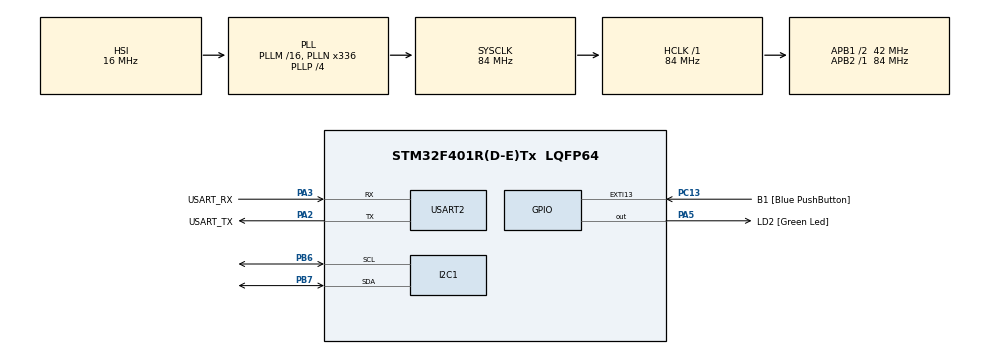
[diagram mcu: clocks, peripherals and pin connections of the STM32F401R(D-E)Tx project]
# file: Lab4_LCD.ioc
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Mcu.Family=STM32F4
Mcu.Name=STM32F401R(D-E)Tx
Mcu.Package=LQFP64
NVIC.PriorityGroup=NVIC_PRIORITYGROUP_0
NVIC.TIM1_BRK_TIM9_IRQn=true\:0\:0\:false\:false\:true\:true\:true\:true
NVIC.TIM2_IRQn=true\:0\:0\:false\:false\:true\:true\:true\:true
PA13.GPIO_Label=TMS
PA13.Mode=Serial_Wire
PA13.Signal=SYS_JTMS-SWDIO
PA14.GPIO_Label=TCK
PA14.Mode=Serial_Wire
PA14.Signal=SYS_JTCK-SWCLK
PA2.GPIO_Label=USART_TX
PA2.GPIO_Mode=GPIO_MODE_AF_PP
PA2.GPIO_PuPd=GPIO_NOPULL
PA2.GPIO_Speed=GPIO_SPEED_FREQ_LOW
PA2.Mode=Asynchronous
PA2.Signal=USART2_TX
PA3.GPIO_Label=USART_RX
PA3.GPIO_Mode=GPIO_MODE_AF_PP
PA3.GPIO_PuPd=GPIO_NOPULL
PA3.GPIO_Speed=GPIO_SPEED_FREQ_LOW
PA3.Mode=Asynchronous
PA3.Signal=USART2_RX
PA5.GPIO_Label=LD2 [Green Led]
PA5.GPIO_Mode=GPIO_MODE_OUTPUT_PP
PA5.GPIO_PuPd=GPIO_NOPULL
PA5.GPIO_Speed=GPIO_SPEED_FREQ_LOW
PA5.Signal=GPIO_Output
PB3.GPIO_Label=SWO
PB3.Signal=SYS_JTDO-SWO
PB6.Mode=I2C
PB6.Signal=I2C1_SCL
PB7.Mode=I2C
PB7.Signal=I2C1_SDA
PC13-ANTI_TAMP.GPIO_Label=B1 [Blue PushButton]
PC13-ANTI_TAMP.GPIO_ModeDefaultEXTI=GPIO_MODE_IT_FALLING
PC13-ANTI_TAMP.GPIO_PuPd=GPIO_NOPULL
PC13-ANTI_TAMP.Signal=GPXTI13
PC14-OSC32_IN.Mode=LSE-External-Oscillator
PC14-OSC32_IN.Signal=RCC_OSC32_IN
PC15-OSC32_OUT.Mode=LSE-External-Oscillator
PC15-OSC32_OUT.Signal=RCC_OSC32_OUT
PH0\ -\ OSC_IN.Mode=HSE-External-Clock-Source
PH0\ -\ OSC_IN.Signal=RCC_OSC_IN
PH1\ -\ OSC_OUT.Mode=HSE-External-Clock-Source
PH1\ -\ OSC_OUT.Signal=RCC_OSC_OUT
ProjectManager.HeapSize=0x200
ProjectManager.StackSize=0x400
ProjectManager.TargetToolchain=STM32CubeIDE
RCC.48MHZClocksFreq_Value=48000000
RCC.AHBFreq_Value=84000000
RCC.APB1CLKDivider=RCC_HCLK_DIV2
RCC.APB1Freq_Value=42000000
RCC.APB1TimFreq_Value=84000000
RCC.APB2Freq_Value=84000000
RCC.APB2TimFreq_Value=84000000
RCC.CortexFreq_Value=84000000
RCC.HCLKFreq_Value=84000000
RCC.HSE_VALUE=8000000
RCC.HSI_VALUE=16000000
RCC.PLLN=336
RCC.PLLP=RCC_PLLP_DIV4
RCC.PLLQ=7
RCC.SYSCLKFreq_VALUE=84000000
RCC.SYSCLKSource=RCC_SYSCLKSOURCE_PLLCLK
RCC.VCOOutputFreq_Value=336000000
TIM2.Period=0xffffffff
TIM2.Prescaler=84-1
TIM9.Period=41999
TIM9.Prescaler=1999
USART2.VirtualMode=VM_ASYNC
VP_TIM2_VS_ClockSourceINT.Mode=Internal
VP_TIM9_VS_ClockSourceINT.Mode=Internal
board=NUCLEO-F401RE

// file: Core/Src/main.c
/* USER CODE BEGIN Header */
/**
  ******************************************************************************
  * @file           : main.c
  * @brief          : Main program body
  ******************************************************************************
  * @attention
  *
  * Copyright (c) 2024 STMicroelectronics.
  * All rights reserved.
  *
  * This software is licensed under terms that can be found in the LICENSE file
  * in the root directory of this software component.
  * If no LICENSE file comes with this software, it is provided AS-IS.
  *
  ******************************************************************************
  */
/* USER CODE END Header */
#include "main.h"

/* USER CODE BEGIN Includes */
#include <stdio.h>
#include "lcd.h"
/* USER CODE END Includes */

I2C_HandleTypeDef hi2c1;

TIM_HandleTypeDef htim2;
TIM_HandleTypeDef htim9;

UART_HandleTypeDef huart2;

/* USER CODE BEGIN PV */
uint8_t	hrs;
uint8_t	min;
uint8_t	sec;
uint16_t unhandled_exti = 0;
TextLCDType lcd;
char time_str[41] = {'\0'};

/* USER CODE END PV */

void SystemClock_Config(void);
static void MX_GPIO_Init(void);
static void MX_USART2_UART_Init(void);
static void MX_TIM9_Init(void);
static void MX_I2C1_Init(void);
static void MX_TIM2_Init(void);

/* USER CODE BEGIN 0 */
struct clock_data {
	uint8_t hrs;
	uint8_t min;
	uint8_t sec;
};

void cd_set(struct clock_data * pcd,
				   uint8_t		hrs,
				   uint8_t		min,
				   uint8_t		sec)
{
	pcd->hrs = hrs;
	pcd->min = min;
	pcd->sec = sec;
}

void HAL_TIM_PeriodElapsedCallback(TIM_HandleTypeDef *htim){
	unhandled_exti++;
}

void cd_tick(struct clock_data * pcd){

	pcd->sec++; //incrementerar sekunderna

	if (pcd->sec > 59){
		pcd->sec = 0;
		pcd->min++;
	}
	if (pcd->min > 59){
		pcd->min = 0;
		pcd->hrs++;
	}
	if (pcd->hrs > 23){
		pcd->hrs = 0;
	}

}

void uart_print_cd(UART_HandleTypeDef * huart,
					struct clock_data * pcd)
{
	uint16_t str_len;
	char str[41] = { '\0'};

	str_len = sprintf(str, "%02d:%02d:%02d \r", pcd->hrs, pcd->min, pcd->sec);
	HAL_UART_Transmit(&huart2, (uint8_t *)&str, str_len, HAL_MAX_DELAY);
}

void wait_for_button_press() {
	int b1_pressed;

	while(!(b1_pressed = GPIO_PIN_RESET == HAL_GPIO_ReadPin(B1_GPIO_Port, B1_Pin)))
	{
		//do nothing
	}

	while((b1_pressed = GPIO_PIN_RESET == HAL_GPIO_ReadPin(B1_GPIO_Port, B1_Pin)))
	{
		//do nothing
	}

}

void convert_time_to_str(struct clock_data * pcd)
{
	//char time_str[50] = {'\0'};
	uint16_t str_len;
	str_len = sprintf(time_str, "%02d:%02d:%02d", pcd->hrs, pcd->min, pcd->sec);
}

/* USER CODE END 0 */

int main(void)
{

  /* MCU Configuration--------------------------------------------------------*/

  /* Reset of all peripherals, Initializes the Flash interface and the Systick. */
  HAL_Init();

  /* Configure the system clock */
  SystemClock_Config();

  /* Initialize all configured peripherals */
  MX_GPIO_Init();
  MX_USART2_UART_Init();
  MX_TIM9_Init();
  MX_I2C1_Init();
  MX_TIM2_Init();
  /* USER CODE BEGIN 2 */
  struct clock_data my_clock; //reserves the memory needed
  cd_set(&my_clock, 23, 59, 45);

  TextLCD_Init(&lcd, &hi2c1, 0x4E);
  HAL_TIM_Base_Start_IT(&htim9);

  /*
  char c = 0;
  const char ASCII_CAPITAL_OFFSET = 'A';
  const char LETTERS_TOTAL = 'Z' - 'A';
  */

  /*for(char c = 'A'; c <= 'Z'; c++)
	  TextLCD_PutChar(&lcd, c);*/

  /* USER CODE END 2 */

  /* Infinite loop */
  /* USER CODE BEGIN WHILE */
  TextLCD_Position(&lcd, 8, 1);
  while (1)
  {
    /* USER CODE END WHILE */

    /* USER CODE BEGIN 3 */
	  if(unhandled_exti>0) {
		  unhandled_exti--;
		  cd_tick(&my_clock);
		  TextLCD_Position(&lcd, 8, 1);
		  convert_time_to_str(&my_clock);
		  TextLCD_PutStr(&lcd, time_str);
		  uart_print_cd(&huart2, &my_clock);

	  }

	  /*
	  wait_for_button_press();
	  TextLCD_PutChar(&lcd, c + ASCII_CAPITAL_OFFSET);
	  c = (c+1) % LETTERS_TOTAL;
	   */

	  /*
	  for (int i = 0; i < 5; i++)
	  		{
	  		wait_for_button_press();
	  		HAL_GPIO_TogglePin(LD2_GPIO_Port, LD2_Pin);
	  		}
	  */

  }

  /* USER CODE END 3 */
}

void SystemClock_Config(void)
{
  RCC_OscInitTypeDef RCC_OscInitStruct = {0};
  RCC_ClkInitTypeDef RCC_ClkInitStruct = {0};

  /** Configure the main internal regulator output voltage
  */
  __HAL_RCC_PWR_CLK_ENABLE();
  __HAL_PWR_VOLTAGESCALING_CONFIG(PWR_REGULATOR_VOLTAGE_SCALE2);

  /** Initializes the RCC Oscillators according to the specified parameters
  * in the RCC_OscInitTypeDef structure.
  */
  RCC_OscInitStruct.OscillatorType = RCC_OSCILLATORTYPE_HSI;
  RCC_OscInitStruct.HSIState = RCC_HSI_ON;
  RCC_OscInitStruct.HSICalibrationValue = RCC_HSICALIBRATION_DEFAULT;
  RCC_OscInitStruct.PLL.PLLState = RCC_PLL_ON;
  RCC_OscInitStruct.PLL.PLLSource = RCC_PLLSOURCE_HSI;
  RCC_OscInitStruct.PLL.PLLM = 16;
  RCC_OscInitStruct.PLL.PLLN = 336;
  RCC_OscInitStruct.PLL.PLLP = RCC_PLLP_DIV4;
  RCC_OscInitStruct.PLL.PLLQ = 7;
  if (HAL_RCC_OscConfig(&RCC_OscInitStruct) != HAL_OK)
  {
    Error_Handler();
  }

  /** Initializes the CPU, AHB and APB buses clocks
  */
  RCC_ClkInitStruct.ClockType = RCC_CLOCKTYPE_HCLK|RCC_CLOCKTYPE_SYSCLK
                              |RCC_CLOCKTYPE_PCLK1|RCC_CLOCKTYPE_PCLK2;
  RCC_ClkInitStruct.SYSCLKSource = RCC_SYSCLKSOURCE_PLLCLK;
  RCC_ClkInitStruct.AHBCLKDivider = RCC_SYSCLK_DIV1;
  RCC_ClkInitStruct.APB1CLKDivider = RCC_HCLK_DIV2;
  RCC_ClkInitStruct.APB2CLKDivider = RCC_HCLK_DIV1;

  if (HAL_RCC_ClockConfig(&RCC_ClkInitStruct, FLASH_LATENCY_2) != HAL_OK)
  {
    Error_Handler();
  }
}

static void MX_I2C1_Init(void)
{

  hi2c1.Instance = I2C1;
  hi2c1.Init.ClockSpeed = 100000;
  hi2c1.Init.DutyCycle = I2C_DUTYCYCLE_2;
  hi2c1.Init.OwnAddress1 = 0;
  hi2c1.Init.AddressingMode = I2C_ADDRESSINGMODE_7BIT;
  hi2c1.Init.DualAddressMode = I2C_DUALADDRESS_DISABLE;
  hi2c1.Init.OwnAddress2 = 0;
  hi2c1.Init.GeneralCallMode = I2C_GENERALCALL_DISABLE;
  hi2c1.Init.NoStretchMode = I2C_NOSTRETCH_DISABLE;
  if (HAL_I2C_Init(&hi2c1) != HAL_OK)
  {
    Error_Handler();
  }

}

static void MX_TIM2_Init(void)
{

  TIM_ClockConfigTypeDef sClockSourceConfig = {0};
  TIM_MasterConfigTypeDef sMasterConfig = {0};

  htim2.Instance = TIM2;
  htim2.Init.Prescaler = 84-1;
  htim2.Init.CounterMode = TIM_COUNTERMODE_UP;
  htim2.Init.Period = 0xffffffff;
  htim2.Init.ClockDivision = TIM_CLOCKDIVISION_DIV1;
  htim2.Init.AutoReloadPreload = TIM_AUTORELOAD_PRELOAD_DISABLE;
  if (HAL_TIM_Base_Init(&htim2) != HAL_OK)
  {
    Error_Handler();
  }
  sClockSourceConfig.ClockSource = TIM_CLOCKSOURCE_INTERNAL;
  if (HAL_TIM_ConfigClockSource(&htim2, &sClockSourceConfig) != HAL_OK)
  {
    Error_Handler();
  }
  sMasterConfig.MasterOutputTrigger = TIM_TRGO_RESET;
  sMasterConfig.MasterSlaveMode = TIM_MASTERSLAVEMODE_DISABLE;
  if (HAL_TIMEx_MasterConfigSynchronization(&htim2, &sMasterConfig) != HAL_OK)
  {
    Error_Handler();
  }

}

static void MX_TIM9_Init(void)
{

  TIM_ClockConfigTypeDef sClockSourceConfig = {0};

  htim9.Instance = TIM9;
  htim9.Init.Prescaler = 1999;
  htim9.Init.CounterMode = TIM_COUNTERMODE_UP;
  htim9.Init.Period = 41999;
  htim9.Init.ClockDivision = TIM_CLOCKDIVISION_DIV1;
  htim9.Init.AutoReloadPreload = TIM_AUTORELOAD_PRELOAD_DISABLE;
  if (HAL_TIM_Base_Init(&htim9) != HAL_OK)
  {
    Error_Handler();
  }
  sClockSourceConfig.ClockSource = TIM_CLOCKSOURCE_INTERNAL;
  if (HAL_TIM_ConfigClockSource(&htim9, &sClockSourceConfig) != HAL_OK)
  {
    Error_Handler();
  }

}

static void MX_USART2_UART_Init(void)
{

  huart2.Instance = USART2;
  huart2.Init.BaudRate = 115200;
  huart2.Init.WordLength = UART_WORDLENGTH_8B;
  huart2.Init.StopBits = UART_STOPBITS_1;
  huart2.Init.Parity = UART_PARITY_NONE;
  huart2.Init.Mode = UART_MODE_TX_RX;
  huart2.Init.HwFlowCtl = UART_HWCONTROL_NONE;
  huart2.Init.OverSampling = UART_OVERSAMPLING_16;
  if (HAL_UART_Init(&huart2) != HAL_OK)
  {
    Error_Handler();
  }

}

static void MX_GPIO_Init(void)
{
  GPIO_InitTypeDef GPIO_InitStruct = {0};

  /* GPIO Ports Clock Enable */
  __HAL_RCC_GPIOC_CLK_ENABLE();
  __HAL_RCC_GPIOH_CLK_ENABLE();
  __HAL_RCC_GPIOA_CLK_ENABLE();
  __HAL_RCC_GPIOB_CLK_ENABLE();

  /*Configure GPIO pin Output Level */
  HAL_GPIO_WritePin(LD2_GPIO_Port, LD2_Pin, GPIO_PIN_RESET);

  /*Configure GPIO pin : B1_Pin */
  GPIO_InitStruct.Pin = B1_Pin;
  GPIO_InitStruct.Mode = GPIO_MODE_IT_FALLING;
  GPIO_InitStruct.Pull = GPIO_NOPULL;
  HAL_GPIO_Init(B1_GPIO_Port, &GPIO_InitStruct);

  /*Configure GPIO pin : LD2_Pin */
  GPIO_InitStruct.Pin = LD2_Pin;
  GPIO_InitStruct.Mode = GPIO_MODE_OUTPUT_PP;
  GPIO_InitStruct.Pull = GPIO_NOPULL;
  GPIO_InitStruct.Speed = GPIO_SPEED_FREQ_LOW;
  HAL_GPIO_Init(LD2_GPIO_Port, &GPIO_InitStruct);

}

void Error_Handler(void)
{
  __disable_irq();
  while (1)
  {
  }
}
